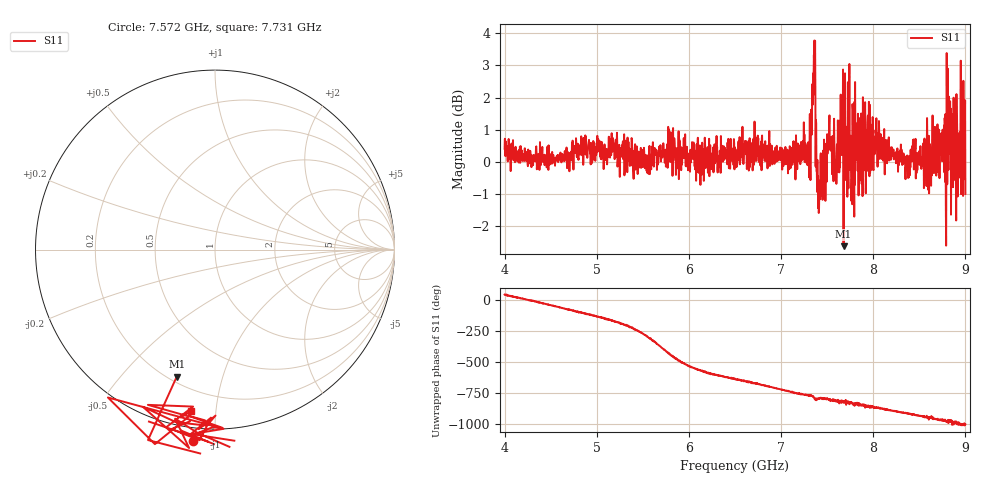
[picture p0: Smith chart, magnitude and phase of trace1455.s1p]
! Created with skrf 1.8.0 (http://scikit-rf.org).
# Hz S RI R 50.0
!freq ReS11 ImS11
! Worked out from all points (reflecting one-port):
!   1601 points, 4 GHz to 9 GHz, reference 50 ohm
!   lowest |S11| = -2.6 dB at 7.678 GHz (marker M1), VSWR 6.69, Z = 11.5 - j35.9 ohm
!   phase of S11 starts at 45 deg and turns -1050 deg over the sweep
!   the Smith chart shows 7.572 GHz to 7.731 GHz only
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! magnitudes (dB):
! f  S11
! 4 GHz  0.4
! 4.625 GHz  0.2
! 5.25 GHz  -0.5
! 5.875 GHz  -0.2
! 6.5 GHz  0.5
! 7.125 GHz  0.3
! 7.297 GHz  0.6
! 7.347 GHz  2.8
! 7.369 GHz  3.8
! 7.4 GHz  -0.4
! 7.409 GHz  -1.6
! 7.525 GHz  1.4
! 7.612 GHz  -0.3
! 7.678 GHz  -2.6
! 7.75 GHz  -0.2
! 7.769 GHz  -0.5
! 7.822 GHz  0.1
! 7.875 GHz  -0.7
! 7.962 GHz  1.8
! 8.375 GHz  -0.2
! 8.434 GHz  0.0
! 8.612 GHz  -0.4
! 8.666 GHz  0.4
! 8.766 GHz  0.9
! 8.819 GHz  0.8
! 8.869 GHz  -0.3
! 8.972 GHz  0.2
! 9 GHz  -1.0
